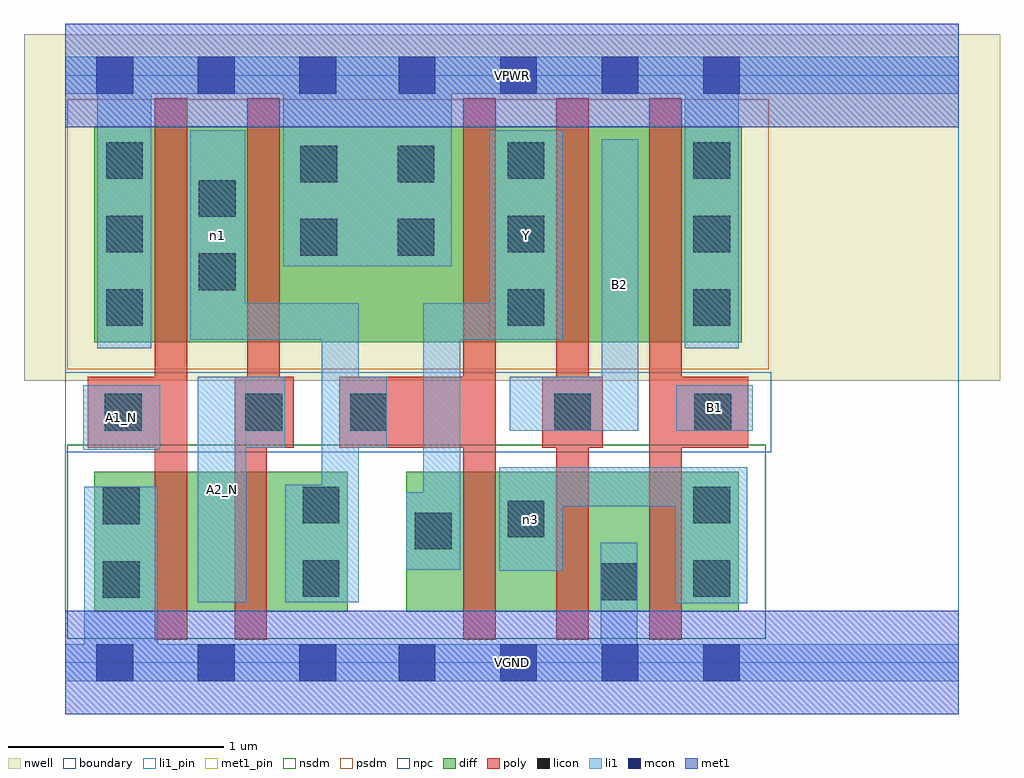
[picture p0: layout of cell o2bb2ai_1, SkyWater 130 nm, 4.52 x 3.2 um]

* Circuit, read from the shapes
.subckt o2bb2ai_1 A1_N A2_N B1 B2 VGND VPWR Y n1 n3
XM1 n2 A1_N VGND VSUBS sky130_fd_pr__nfet_01v8 w=0.65 l=0.15
XM2 n1 A2_N n2 VSUBS sky130_fd_pr__nfet_01v8 w=0.65 l=0.15
XM3 n3 n1 Y VSUBS sky130_fd_pr__nfet_01v8 w=0.65 l=0.15
XM4 VGND B2 n3 VSUBS sky130_fd_pr__nfet_01v8 w=0.65 l=0.15
XM5 n3 B1 VGND VSUBS sky130_fd_pr__nfet_01v8 w=0.65 l=0.15
XM6 n1 A1_N VPWR n4 sky130_fd_pr__pfet_01v8 w=1 l=0.15
XM7 VPWR A2_N n1 n4 sky130_fd_pr__pfet_01v8 w=1 l=0.15
XM8 Y n1 VPWR n4 sky130_fd_pr__pfet_01v8 w=1 l=0.15
XM9 n5 B2 Y n4 sky130_fd_pr__pfet_01v8 w=1 l=0.15
XM10 VPWR B1 n5 n4 sky130_fd_pr__pfet_01v8 w=1 l=0.15
.ends

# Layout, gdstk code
import gdstk
lib = gdstk.Library(unit=1e-6, precision=1e-09)
def R(c, l, rs):  # rectangles x0, y0, x1, y1
    for r in rs: c.add(gdstk.rectangle(r[:2], r[2:], *l))
def A(c, l, x, y, w, h, nx, ny, dx, dy):  # array of equal rectangles
    R(c, l, [(x+i*dx, y+j*dy, x+i*dx+w, y+j*dy+h) for i in range(nx) for j in range(ny)])
nwell = (64, 20)
diff = (65, 20)
poly = (66, 20)
licon = (66, 44)
li1_pin = (67, 16)
li1 = (67, 20)
mcon = (67, 44)
met1_pin = (68, 16)
met1 = (68, 20)
nsdm = (93, 44)
psdm = (94, 20)
npc = (95, 20)
boundary = (235, 4)

o2bb2ai_1 = lib.new_cell('o2bb2ai_1')
R(o2bb2ai_1, nwell, [(-0.19,1.305,4.33,2.91), (0,1.305,4.14,2.91)])
R(o2bb2ai_1, diff, [(0.135,0.235,1.31,0.885), (1.58,0.235,3.12,0.885), (0.135,1.485,3.135,2.485)])
A(o2bb2ai_1, poly, 1.845, 0.105, 0.15, 2.51, 3, 1, 0.43, 0)
R(o2bb2ai_1, poly, [(0.415,0.105,0.565,2.615), (0.785,0.105,0.935,1.325), (0.105,0.995,0.565,1.325), (0.785,0.995,1.06,1.325), (0.845,0.995,0.995,2.615), (1.27,0.995,1.995,1.325), (2.21,0.995,2.49,1.325), (2.705,0.995,3.165,1.325)])
A(o2bb2ai_1, licon, 0.19, 1.56, 0.17, 0.17, 1, 3, 0, 0.34)
A(o2bb2ai_1, licon, 2.05, 1.56, 0.17, 0.17, 1, 3, 0, 0.34)
A(o2bb2ai_1, licon, 2.91, 1.56, 0.17, 0.17, 1, 3, 0, 0.34)
R(o2bb2ai_1, licon, [(2.48,0.29,2.65,0.46), (0.175,0.3,0.345,0.47), (1.1,0.305,1.27,0.475), (2.91,0.305,3.08,0.475), (1.62,0.525,1.79,0.695), (2.05,0.58,2.22,0.75), (0.175,0.64,0.345,0.81), (1.1,0.645,1.27,0.815), (2.91,0.645,3.08,0.815), (0.185,1.075,0.355,1.245), (0.835,1.075,1.005,1.245), (1.32,1.075,1.49,1.245), (2.265,1.075,2.435,1.245), (2.915,1.075,3.085,1.245), (0.62,1.725,0.79,1.895), (1.09,1.885,1.26,2.055), (1.54,1.885,1.71,2.055), (0.62,2.065,0.79,2.235), (1.09,2.225,1.26,2.395), (1.54,2.225,1.71,2.395)])
R(o2bb2ai_1, li1_pin, [(0.615,0.28,0.84,1.325), (0.085,0.985,0.44,1.285), (2.485,1.075,2.655,2.425), (2.83,1.075,3.185,1.285), (1.965,1.495,2.305,2.465)])
R(o2bb2ai_1, li1, [(0,-0.085,4.14,0.085), (0.09,-0.085,0.43,0.815), (2.48,-0.085,2.65,0.555), (2.825,0.275,3.16,0.905), (0.615,0.28,0.84,1.325), (1.02,0.28,1.36,0.825), (1.19,0.28,1.36,1.665), (2.01,0.425,2.305,0.905), (1.58,0.43,1.83,0.79), (1.66,0.43,1.83,1.665), (2.01,0.725,3.16,0.905), (0.085,0.985,0.44,1.285), (0.615,0.995,1.02,1.325), (1.19,0.995,1.49,1.325), (2.06,1.075,2.655,1.325), (2.485,1.075,2.655,2.425), (2.83,1.075,3.185,1.285), (0.15,1.455,0.4,2.805), (2.87,1.455,3.12,2.805), (0.58,1.495,0.835,2.465), (0.58,1.495,1.36,1.665), (1.66,1.495,2.305,1.665), (1.965,1.495,2.305,2.465), (1.01,1.835,1.79,2.805), (0,2.635,4.14,2.805)])
A(o2bb2ai_1, mcon, 0.145, -0.085, 0.17, 0.17, 3, 2, 0.47, 2.72)
A(o2bb2ai_1, mcon, 1.545, -0.085, 0.17, 0.17, 4, 2, 0.47, 2.72)
R(o2bb2ai_1, met1_pin, [(0,-0.24,4.14,0.24), (0,2.48,4.14,2.96)])
R(o2bb2ai_1, met1, [(0,-0.24,4.14,0.24), (0,2.48,4.14,2.96)])
R(o2bb2ai_1, nsdm, [(0.01,0.11,3.245,1.01)])
R(o2bb2ai_1, psdm, [(0.01,1.36,3.26,2.61)])
R(o2bb2ai_1, npc, [(0,0.975,3.27,1.345)])
R(o2bb2ai_1, boundary, [(0,0,4.14,2.72)])
o2bb2ai_1.add(gdstk.Label('A1_N', (0.262,1.135), layer=67, texttype=5))
o2bb2ai_1.add(gdstk.Label('A2_N', (0.727,0.802), layer=67, texttype=5))
o2bb2ai_1.add(gdstk.Label('B1', (3.007,1.18), layer=67, texttype=5))
o2bb2ai_1.add(gdstk.Label('B2', (2.57,1.75), layer=67, texttype=5))
o2bb2ai_1.add(gdstk.Label('Y', (2.135,1.98), layer=67, texttype=5))
o2bb2ai_1.add(gdstk.Label('n3', (2.157,0.665), layer=67, texttype=5))
o2bb2ai_1.add(gdstk.Label('n1', (0.707,1.98), layer=67, texttype=5))
o2bb2ai_1.add(gdstk.Label('VPWR', (2.07,2.72), layer=68, texttype=5))
o2bb2ai_1.add(gdstk.Label('VGND', (2.07,0), layer=68, texttype=5))
o2bb2ai_1.add(gdstk.Label('A1_N', (0.262,1.135), layer=67, texttype=16))
o2bb2ai_1.add(gdstk.Label('A2_N', (0.727,0.802), layer=67, texttype=16))
o2bb2ai_1.add(gdstk.Label('B1', (3.007,1.18), layer=67, texttype=16))
o2bb2ai_1.add(gdstk.Label('B2', (2.57,1.75), layer=67, texttype=16))
o2bb2ai_1.add(gdstk.Label('Y', (2.135,1.98), layer=67, texttype=16))
o2bb2ai_1.add(gdstk.Label('VPWR', (2.07,2.72), layer=68, texttype=16))
o2bb2ai_1.add(gdstk.Label('VGND', (2.07,0), layer=68, texttype=16))

lib.write_gds('o2bb2ai_1.gds')
